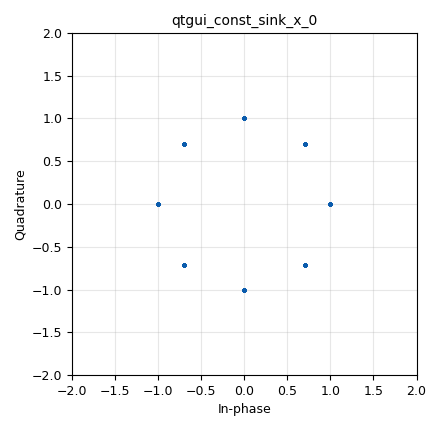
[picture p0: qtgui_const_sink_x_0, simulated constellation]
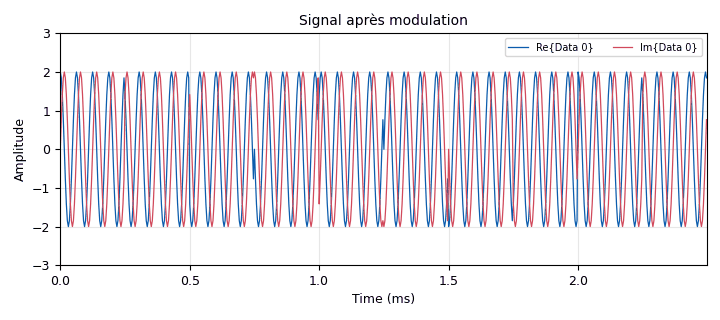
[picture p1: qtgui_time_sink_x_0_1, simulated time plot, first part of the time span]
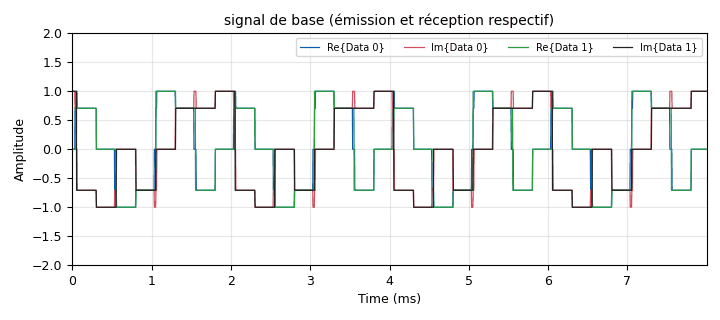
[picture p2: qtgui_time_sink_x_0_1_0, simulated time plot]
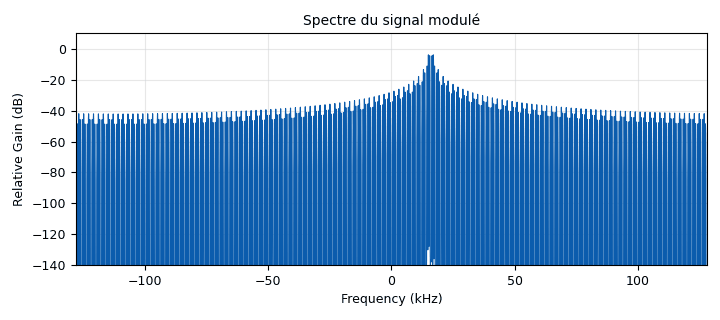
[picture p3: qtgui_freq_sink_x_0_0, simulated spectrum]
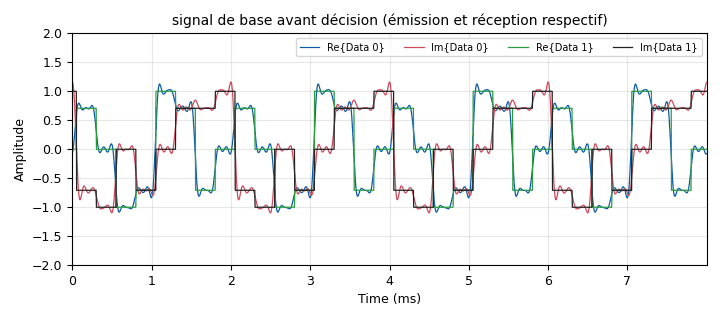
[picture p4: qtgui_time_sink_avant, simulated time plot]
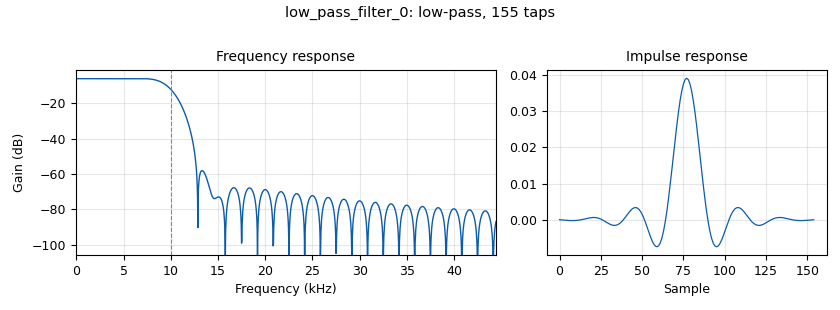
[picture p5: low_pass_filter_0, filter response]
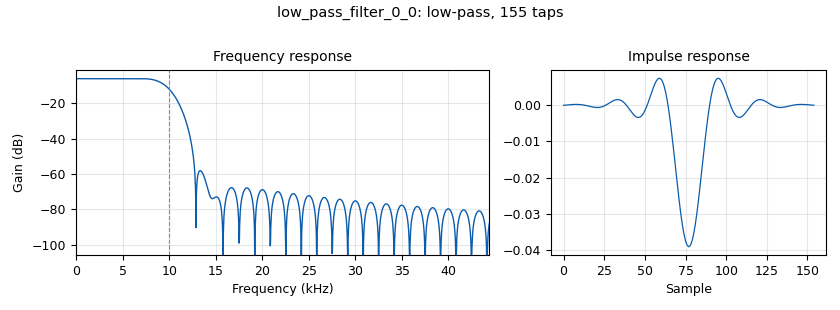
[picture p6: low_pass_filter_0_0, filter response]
options:
  parameters:
    generate_options: qt_gui
    id: PSK8_demod_fixe
    output_language: python
    title: Not titled yet
  states: {}

blocks:
- name: Fc
  id: variable
  parameters:
    value: '16000'
  states: {}
- name: Fs
  id: variable
  parameters:
    value: 4 * Fc
  states: {}
- name: Rb
  id: variable
  parameters:
    value: '12000'
  states: {}
- name: samp_rate
  id: variable
  parameters:
    value: '256000'
  states: {}
- name: symbol_rate
  id: variable
  parameters:
    value: Rb / 3
  states: {}
- name: analog_sig_source_x_0
  id: analog_sig_source_x
  parameters:
    amp: '2'
    freq: Fc
    offset: '0'
    phase: '0'
    samp_rate: samp_rate
    type: complex
    waveform: analog.GR_COS_WAVE
  states: {}
- name: blocks_complex_to_float_0
  id: blocks_complex_to_float
  parameters: {}
  states: {}
- name: blocks_complex_to_float_2
  id: blocks_complex_to_float
  parameters: {}
  states: {}
- name: blocks_delay_0
  id: blocks_delay
  parameters:
    delay: '78'
    type: complex
  states: {}
- name: blocks_float_to_complex_0
  id: blocks_float_to_complex
  parameters: {}
  states: {}
- name: blocks_multiply_xx_0_1
  id: blocks_multiply_xx
  parameters:
    type: complex
  states: {}
- name: blocks_multiply_xx_0_1_0
  id: blocks_multiply_xx
  parameters:
    type: float
  states: {}
- name: blocks_multiply_xx_0_1_0_0
  id: blocks_multiply_xx
  parameters:
    type: float
  states: {}
- name: blocks_repeat_0
  id: blocks_repeat
  parameters:
    interp: int(samp_rate/symbol_rate)
    type: complex
  states: {}
- name: blocks_throttle2_0_0_1
  id: blocks_throttle2
  parameters:
    samples_per_second: samp_rate
    type: complex
  states: {}
- name: blocks_vector_source_x_0
  id: blocks_vector_source_x
  parameters:
    repeat: 'True'
    type: byte
    vector: list(range(8))
  states: {}
- name: epy_block_1
  id: epy_block
  parameters:
    _source_code: |
      import numpy as np
      from gnuradio import gr

      class blk(gr.sync_block):
          def __init__(self):
              gr.sync_block.__init__(
                  self,
                  name='Mapping 8PSK',
                  in_sig=[np.uint8],
                  out_sig=[np.complex64]
              )
              c = np.sqrt(0.5)   # cos(45 deg) = sin(45 deg) = 0.7071
              # 8 points sur le cercle unite, pas de 45 deg, code de Gray
              self.dico = {
                  0: 1+0j,        # 000 :   0 deg
                  1: c+1j*c,      # 001 :  45 deg
                  3: 0+1j,        # 011 :  90 deg
                  2: -c+1j*c,     # 010 : 135 deg
                  6: -1+0j,       # 110 : 180 deg
                  7: -c-1j*c,     # 111 : 225 deg
                  5: 0-1j,        # 101 : 270 deg
                  4: c-1j*c       # 100 : 315 deg
              }

          def work(self, input_items, output_items):
              symboles = input_items[0]
              out = output_items[0]

              for i, s in enumerate(symboles):
                  out[i] = self.dico[int(s)]

              return len(out)
  states: {}
- name: epy_block_1_0
  id: epy_block
  parameters:
    _source_code: |
      import numpy as np
      from gnuradio import gr

      class blk(gr.sync_block):
          def __init__(self):
              gr.sync_block.__init__(
                  self,
                  name='8PSK symbole plus proche',
                  in_sig=[np.complex64],
                  out_sig=[np.complex64]
              )
              c = np.sqrt(0.5)
              # memes 8 points que le mapping (angle = k x 45 deg)
              self.symboles = np.array([1+0j, c+1j*c, 0+1j, -c+1j*c,
                                        -1+0j, -c-1j*c, 0-1j, c-1j*c],
                                       dtype=np.complex64)

          def work(self, input_items, output_items):
              x = input_items[0]
              # decision a distance euclidienne minimale
              d = np.abs(x[:, None] - self.symboles[None, :])
              output_items[0][:] = self.symboles[np.argmin(d, axis=1)]
              return len(output_items[0])
  states: {}
- name: low_pass_filter_0
  id: low_pass_filter
  parameters:
    cutoff_freq: '10000'
    gain: '0.5'
    interp: '1'
    samp_rate: samp_rate
    type: interp_fir_filter_fff
    width: '4000'
    win: window.WIN_HAMMING
  states: {}
- name: low_pass_filter_0_0
  id: low_pass_filter
  parameters:
    cutoff_freq: '10000'
    gain: '-0.5'
    interp: '1'
    samp_rate: samp_rate
    type: interp_fir_filter_fff
    width: '4000'
    win: window.WIN_HAMMING
  states: {}
- name: note_0
  id: note
  parameters:
    note: 4 périodes par symbole
  states: {}
- name: note_0_0
  id: note
  parameters:
    note: symbol_rate < Fc*2
  states: {}
- name: note_0_0_0
  id: note
  parameters:
    note: Rb = log2(2^M) * symbol_rate
  states: {}
- name: note_0_2
  id: note
  parameters:
    note: Fs > 2 * Fc
  states: {}
- name: qtgui_const_sink_x_0
  id: qtgui_const_sink_x
  parameters:
    size: '1024'
    type: complex
  states: {}
- name: qtgui_time_sink_x_0_1
  id: qtgui_time_sink_x
  parameters:
    name: Signal après modulation
    size: '8192'
    srate: samp_rate
    type: complex
    ymax: '3'
    ymin: '-3'
  states: {}
- name: qtgui_time_sink_x_0_1_0
  id: qtgui_time_sink_x
  parameters:
    name: signal de base (émission et réception respectif)
    nconnections: '2'
    size: '2048'
    srate: samp_rate
    style3: '2'
    style4: '2'
    type: complex
    update_time: '1'
    width3: '3'
    width4: '3'
    ymax: '2'
    ymin: '-2'
  states: {}
- name: qtgui_freq_sink_x_0_0
  id: qtgui_freq_sink_x
  parameters:
    average: '0.05'
    bw: samp_rate
    fc: '0'
    fftsize: '4096'
    name: '"Spectre du signal modulé"'
    norm_window: 'True'
    showports: 'True'
    type: complex
  states: {}
- name: qtgui_time_sink_avant
  id: qtgui_time_sink_x
  parameters:
    name: signal de base avant décision (émission et réception respectif)
    nconnections: '2'
    size: '2048'
    srate: samp_rate
    style3: '2'
    style4: '2'
    type: complex
    update_time: '1'
    width3: '3'
    width4: '3'
    ymax: '2'
    ymin: '-2'
  states: {}

connections:
- [analog_sig_source_x_0, '0', blocks_complex_to_float_2, '0']
- [analog_sig_source_x_0, '0', blocks_multiply_xx_0_1, '0']
- [blocks_complex_to_float_0, '0', blocks_multiply_xx_0_1_0, '1']
- [blocks_complex_to_float_0, '0', blocks_multiply_xx_0_1_0_0, '0']
- [blocks_complex_to_float_2, '0', blocks_multiply_xx_0_1_0, '0']
- [blocks_complex_to_float_2, '1', blocks_multiply_xx_0_1_0_0, '1']
- [blocks_float_to_complex_0, '0', epy_block_1_0, '0']
- [blocks_multiply_xx_0_1, '0', blocks_complex_to_float_0, '0']
- [blocks_multiply_xx_0_1, '0', qtgui_time_sink_x_0_1, '0']
- [blocks_multiply_xx_0_1_0, '0', low_pass_filter_0, '0']
- [blocks_multiply_xx_0_1_0_0, '0', low_pass_filter_0_0, '0']
- [blocks_repeat_0, '0', blocks_throttle2_0_0_1, '0']
- [blocks_throttle2_0_0_1, '0', blocks_delay_0, '0']
- [blocks_throttle2_0_0_1, '0', blocks_multiply_xx_0_1, '1']
- [blocks_throttle2_0_0_1, '0', qtgui_const_sink_x_0, '0']
- [blocks_vector_source_x_0, '0', epy_block_1, '0']
- [epy_block_1, '0', blocks_repeat_0, '0']
- [low_pass_filter_0, '0', blocks_float_to_complex_0, '0']
- [low_pass_filter_0_0, '0', blocks_float_to_complex_0, '1']
- [epy_block_1_0, '0', qtgui_time_sink_x_0_1_0, '0']
- [blocks_delay_0, '0', qtgui_time_sink_x_0_1_0, '1']
- [blocks_multiply_xx_0_1, '0', qtgui_freq_sink_x_0_0, '0']
- [blocks_float_to_complex_0, '0', qtgui_time_sink_avant, '0']
- [blocks_delay_0, '0', qtgui_time_sink_avant, '1']

metadata:
  file_format: 1
  grc_version: 3.10.12.0
